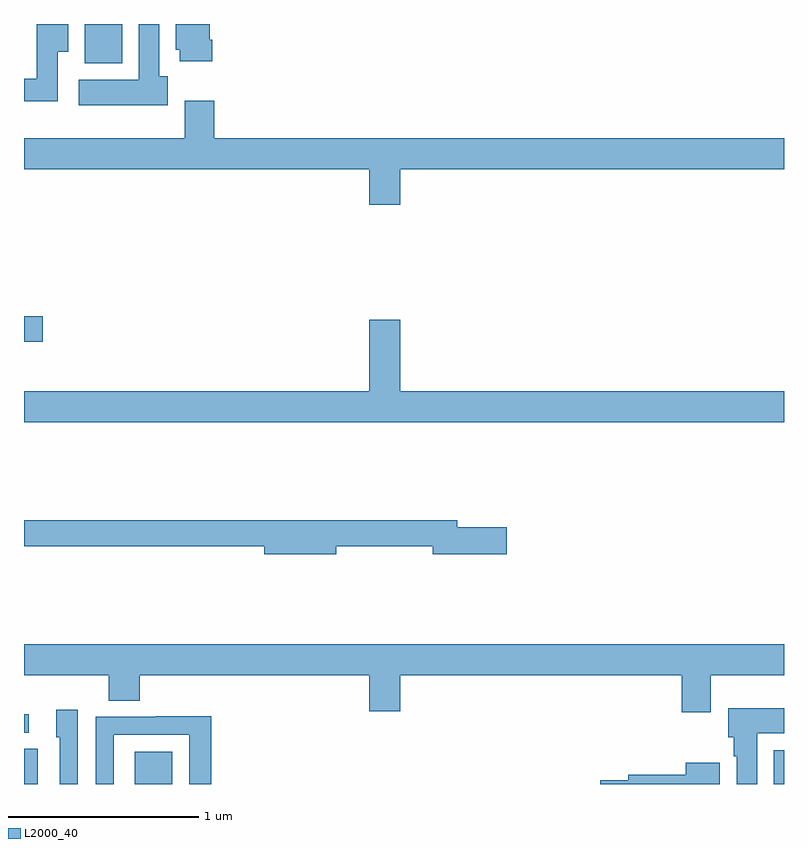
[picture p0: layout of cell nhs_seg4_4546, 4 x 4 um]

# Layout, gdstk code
import gdstk
lib = gdstk.Library(unit=1e-6, precision=1e-09)
def R(c, l, rs):  # rectangles x0, y0, x1, y1
    for r in rs: c.add(gdstk.rectangle(r[:2], r[2:], *l))
def P(c, l, *ps):  # polygons
    for p in ps: c.add(gdstk.Polygon(p, *l))
L2000_40 = (2000, 40)

nhs_seg4_4546 = lib.new_cell('nhs_seg4_4546')
R(nhs_seg4_4546, L2000_40, [(355,810.9,355.072,811.085), (355.583,810.9,355.78,811.069), (358.946,810.9,359,811.078), (355,811.17,355.024,811.268), (355,813.227,355.099,813.362), (355.319,814.694,355.516,814.9)])
P(nhs_seg4_4546, L2000_40, [(355.756,814.626),(355.711,814.626),(355.711,814.9),(355.604,814.9),(355.604,814.606),(355.287,814.606),(355.287,814.472),(355.756,814.472)],
  [(355.177,814.753),(355.234,814.753),(355.234,814.9),(355.067,814.9),(355.067,814.612),(355,814.612),(355,814.494),(355.177,814.494)],
  [(355.991,814.816),(355.978,814.816),(355.978,814.9),(355.799,814.9),(355.799,814.764),(355.82,814.764),(355.82,814.704),(355.991,814.704)],
  [(356.98,814.136),(359,814.136),(359,814.3),(356,814.3),(356,814.495),(355.847,814.495),(355.847,814.3),(355,814.3),(355,814.136),(356.816,814.136),(356.816,813.948),(356.98,813.948)],
  [(359,812.968),(356.98,812.968),(356.98,813.343),(356.816,813.343),(356.816,812.968),(355,812.968),(355,812.804),(359,812.804)],
  [(356.644,812.152),(357.152,812.152),(357.152,812.11),(357.541,812.11),(357.541,812.252),(357.28,812.252),(357.28,812.288),(355,812.288),(355,812.152),(356.264,812.152),(356.264,812.11),(356.644,812.11)],
  [(358.615,811.472),(359,811.472),(359,811.636),(355,811.636),(355,811.472),(355.445,811.472),(355.445,811.339),(355.61,811.339),(355.61,811.472),(356.816,811.472),(356.816,811.284),(356.98,811.284),(356.98,811.472),(358.463,811.472),(358.463,811.278),(358.615,811.278)],
  [(358.858,811.166),(359,811.166),(359,811.3),(358.706,811.3),(358.706,811.146),(358.736,811.146),(358.736,811.046),(358.751,811.046),(358.751,810.9),(358.858,810.9)],
  [(355.284,811.291),(355.169,811.291),(355.169,811.146),(355.188,811.146),(355.188,810.9),(355.284,810.9)],
  [(355.473,811.158),(355.869,811.158),(355.869,810.9),(355.985,810.9),(355.985,811.256),(355.693,811.256),(355.693,811.254),(355.377,811.254),(355.377,810.9),(355.473,810.9)],
  [(358.663,811.012),(358.484,811.012),(358.484,810.95),(358.181,810.95),(358.181,810.92),(358.032,810.92),(358.032,810.9),(358.663,810.9)])

lib.write_gds('nhs_seg4_4546.gds')
